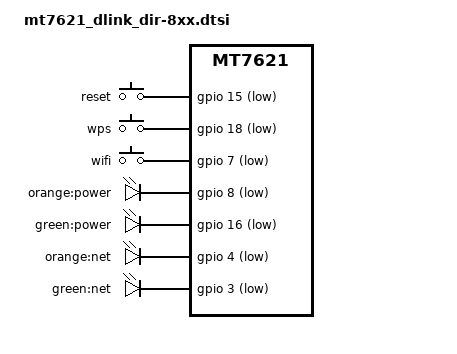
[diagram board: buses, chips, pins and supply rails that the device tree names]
// SPDX-License-Identifier: GPL-2.0-or-later OR MIT

#include "mt7621.dtsi"

#include <dt-bindings/gpio/gpio.h>
#include <dt-bindings/input/input.h>

/ {
	aliases {
		label-mac-device = &gmac0;
		led-boot = &led_power_orange;
		led-failsafe = &led_power_green;
		led-running = &led_power_green;
		led-upgrade = &led_net_orange;
	};

	keys {
		compatible = "gpio-keys";

		reset {
			label = "reset";
			gpios = <&gpio 15 GPIO_ACTIVE_LOW>;
			linux,code = <KEY_RESTART>;
		};

		wps {
			label = "wps";
			gpios = <&gpio 18 GPIO_ACTIVE_LOW>;
			linux,code = <KEY_WPS_BUTTON>;
		};

		wifi {
			label = "wifi";
			gpios = <&gpio 7 GPIO_ACTIVE_LOW>;
			linux,code = <KEY_RFKILL>;
		};
	};

	leds: leds {
		compatible = "gpio-leds";

		led_power_orange: power_orange {
			label = "orange:power";
			gpios = <&gpio 8 GPIO_ACTIVE_LOW>;
		};

		led_power_green: power_green {
			label = "green:power";
			gpios = <&gpio 16 GPIO_ACTIVE_LOW>;
		};

		led_net_orange: net_orange {
			label = "orange:net";
			gpios = <&gpio 4 GPIO_ACTIVE_LOW>;
		};

		net_green {
			label = "green:net";
			gpios = <&gpio 3 GPIO_ACTIVE_LOW>;
		};
	};
};

&state_default {
	gpio {
		groups = "i2c", "uart3", "jtag", "wdt";
		function = "gpio";
	};
};
